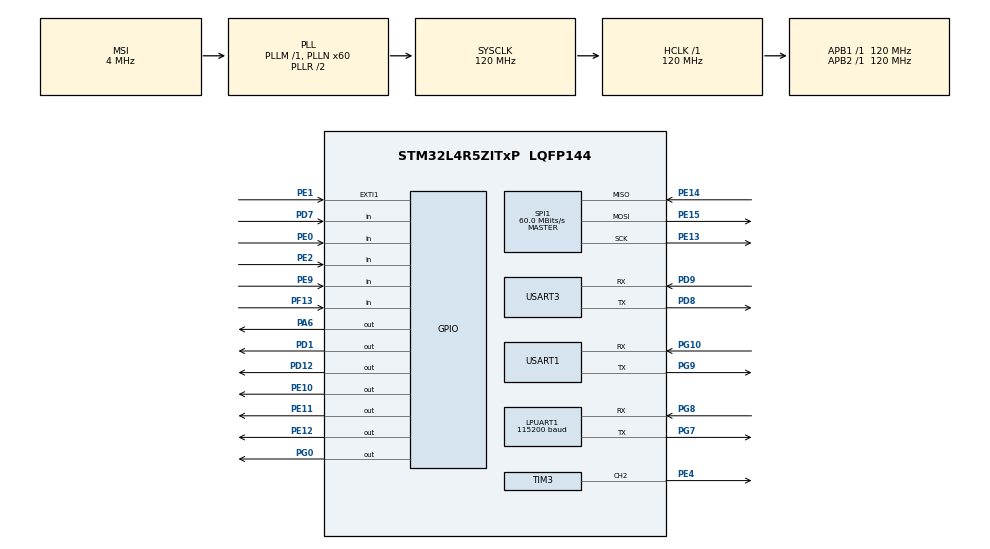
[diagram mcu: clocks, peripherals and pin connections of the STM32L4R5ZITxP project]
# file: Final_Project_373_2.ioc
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Dma.Request0=USART1_RX
Dma.Request1=TIM3_CH2
Dma.TIM3_CH2.1.Direction=DMA_MEMORY_TO_PERIPH
Dma.TIM3_CH2.1.EventEnable=DISABLE
Dma.TIM3_CH2.1.Instance=DMA1_Channel2
Dma.TIM3_CH2.1.MemDataAlignment=DMA_MDATAALIGN_WORD
Dma.TIM3_CH2.1.MemInc=DMA_MINC_ENABLE
Dma.TIM3_CH2.1.Mode=DMA_NORMAL
Dma.TIM3_CH2.1.PeriphDataAlignment=DMA_PDATAALIGN_WORD
Dma.TIM3_CH2.1.PeriphInc=DMA_PINC_DISABLE
Dma.TIM3_CH2.1.Polarity=HAL_DMAMUX_REQUEST_GEN_RISING
Dma.TIM3_CH2.1.Priority=DMA_PRIORITY_VERY_HIGH
Dma.TIM3_CH2.1.RequestNumber=1
Dma.TIM3_CH2.1.SignalID=NONE
Dma.TIM3_CH2.1.SyncEnable=DISABLE
Dma.TIM3_CH2.1.SyncPolarity=HAL_DMAMUX_SYNC_NO_EVENT
Dma.TIM3_CH2.1.SyncRequestNumber=1
Dma.TIM3_CH2.1.SyncSignalID=NONE
Dma.USART1_RX.0.Direction=DMA_PERIPH_TO_MEMORY
Dma.USART1_RX.0.EventEnable=DISABLE
Dma.USART1_RX.0.Instance=DMA1_Channel1
Dma.USART1_RX.0.MemDataAlignment=DMA_MDATAALIGN_BYTE
Dma.USART1_RX.0.MemInc=DMA_MINC_ENABLE
Dma.USART1_RX.0.Mode=DMA_NORMAL
Dma.USART1_RX.0.PeriphDataAlignment=DMA_PDATAALIGN_BYTE
Dma.USART1_RX.0.PeriphInc=DMA_PINC_DISABLE
Dma.USART1_RX.0.Polarity=HAL_DMAMUX_REQUEST_GEN_RISING
Dma.USART1_RX.0.Priority=DMA_PRIORITY_HIGH
Dma.USART1_RX.0.RequestNumber=1
Dma.USART1_RX.0.SignalID=NONE
Dma.USART1_RX.0.SyncEnable=DISABLE
Dma.USART1_RX.0.SyncPolarity=HAL_DMAMUX_SYNC_NO_EVENT
Dma.USART1_RX.0.SyncRequestNumber=1
Dma.USART1_RX.0.SyncSignalID=NONE
FREERTOS.BinarySemaphores01=myBinarySem01,Dynamic,NULL,Depleted;myBinarySem02,Dynamic,NULL,Depleted
FREERTOS.Mutexes01=myMutex01,Dynamic,NULL,Available
FREERTOS.Tasks01=LiDARDataTask,24,128,StartLiDARDataTask,Default,NULL,Dynamic,NULL,NULL;HapticsTask,24,128,StartHapticsTask,Default,NULL,Dynamic,NULL,NULL;LED,23,128,StartLED,Default,NULL,Dynamic,NULL,NULL;RetryConnection,25,128,StartRetryConnection,Default,NULL,Dynamic,NULL,NULL;ChangeModes,8,128,StartChangeModes,Default,NULL,Dynamic,NULL,NULL
FREERTOS.Timers01=myTimer01,Callback01,osTimerOnce,Default,NULL,Dynamic,NULL;myTimer02,Callback02,osTimerOnce,Default,NULL,Dynamic,NULL;myTimer03,Callback03,osTimerPeriodic,Default,NULL,Dynamic,NULL;myTimer05,Callback05,osTimerPeriodic,Default,NULL,Dynamic,NULL
FREERTOS.configTOTAL_HEAP_SIZE=5000
FREERTOS.configUSE_NEWLIB_REENTRANT=1
LPUART1.BaudRate=115200
LPUART1.WordLength=UART_WORDLENGTH_8B
Mcu.Family=STM32L4
Mcu.Name=STM32L4R5ZITxP
Mcu.Package=LQFP144
NVIC.DMA1_Channel1_IRQn=true\:5\:0\:false\:false\:true\:true\:false\:true\:true
NVIC.DMA1_Channel2_IRQn=true\:5\:0\:false\:false\:true\:true\:false\:true\:true
NVIC.EXTI1_IRQn=true\:5\:0\:false\:false\:true\:true\:true\:true\:true
NVIC.PriorityGroup=NVIC_PRIORITYGROUP_4
NVIC.TIM1_UP_TIM16_IRQn=true\:5\:0\:false\:false\:true\:true\:true\:true\:true
NVIC.TIM2_IRQn=true\:5\:0\:false\:false\:true\:true\:true\:true\:true
NVIC.TIM4_IRQn=true\:5\:0\:false\:false\:true\:true\:true\:true\:true
NVIC.TIM5_IRQn=true\:5\:0\:false\:false\:true\:true\:true\:true\:true
NVIC.TIM6_DAC_IRQn=true\:15\:0\:false\:false\:true\:false\:false\:true\:true
NVIC.TIM8_UP_IRQn=true\:5\:0\:false\:false\:true\:true\:true\:true\:true
NVIC.TimeBase=TIM6_DAC_IRQn
NVIC.TimeBaseIP=TIM6
NVIC.USART1_IRQn=true\:5\:0\:true\:false\:true\:true\:true\:true\:true
PA0.Signal=S_TIM2_CH1
PA1.Signal=ADCx_IN6
PA10.Signal=USB_OTG_FS_ID
PA13\ (JTMS/SWDIO).Signal=SYS_JTMS-SWDIO
PA14\ (JTCK/SWCLK).Signal=SYS_JTCK-SWCLK
PA3.Signal=ADCx_IN8
PA6.Signal=GPIO_Output
PA8.Signal=USB_OTG_FS_SOF
PA9.Signal=USB_OTG_FS_VBUS
PB1.Signal=ADCx_IN16
PB10.Signal=S_TIM2_CH3
PB12.Signal=SAI2_FS_A
PB13.Signal=SAI2_SCK_A
PB14.Signal=S_TIM15_CH1
PB15.Signal=SAI2_SD_A
PB2.Signal=COMP1_INP
PB3\ (JTDO/TRACESWO).Signal=SPI3_SCK
PB4\ (NJTRST).Signal=SPI3_MISO
PB5.Signal=SPI3_MOSI
PB6.Signal=COMP2_INP
PB8.Signal=I2C1_SCL
PB9.Signal=I2C1_SDA
PC0.Signal=ADCx_IN1
PC1.Signal=ADCx_IN2
PC10.Signal=SDMMC1_D2
PC11.Signal=SDMMC1_D3
PC12.Signal=SDMMC1_CK
PC13.Signal=SYS_WKUP2
PC14-OSC32_IN\ (PC14).Signal=RCC_OSC32_IN
PC15-OSC32_OUT\ (PC15).Signal=RCC_OSC32_OUT
PC2.Signal=ADCx_IN3
PC3.Signal=ADCx_IN4
PC4.Signal=ADCx_IN13
PC5.Signal=ADCx_IN14
PC6.Signal=SAI2_MCLK_A
PC8.Signal=SDMMC1_D0
PC9.Signal=SDMMC1_D1
PD0.Signal=CAN1_RX
PD1.Signal=GPIO_Output
PD12.Signal=GPIO_Output
PD14.Signal=S_TIM4_CH3
PD15.Signal=S_TIM4_CH4
PD2.Signal=SDMMC1_CMD
PD3.Signal=USART2_CTS
PD4.Signal=USART2_RTS
PD5.Signal=USART2_TX
PD6.Signal=USART2_RX
PD7.GPIO_PuPd=GPIO_PULLUP
PD7.Signal=GPIO_Input
PD8.Mode=Asynchronous
PD8.Signal=USART3_TX
PD9.Mode=Asynchronous
PD9.Signal=USART3_RX
PE0.GPIO_PuPd=GPIO_PULLUP
PE0.Signal=GPIO_Input
PE1.GPIO_ModeDefaultEXTI=GPIO_MODE_IT_RISING_FALLING
PE1.GPIO_PuPd=GPIO_PULLUP
PE1.Signal=GPXTI1
PE10.Signal=GPIO_Output
PE11.Signal=GPIO_Output
PE12.Signal=GPIO_Output
PE13.Mode=Full_Duplex_Master
PE13.Signal=SPI1_SCK
PE14.Mode=Full_Duplex_Master
PE14.Signal=SPI1_MISO
PE15.Mode=Full_Duplex_Master
PE15.Signal=SPI1_MOSI
PE2.GPIO_PuPd=GPIO_PULLUP
PE2.Signal=GPIO_Input
PE3.Signal=SAI1_SD_B
PE4.Signal=S_TIM3_CH2
PE7.Signal=S_TIM1_ETR
PE8.Signal=TIM1_CH1N
PE9.GPIO_PuPd=GPIO_PULLUP
PE9.Signal=GPIO_Input
PF0.Signal=I2C2_SDA
PF1.Signal=I2C2_SCL
PF13.GPIO_PuPd=GPIO_PULLUP
PF13.Signal=GPIO_Input
PF2.Signal=I2C2_SMBA
PF7.Signal=SAI1_MCLK_B
PG0.Signal=GPIO_Output
PG10.Mode=Asynchronous
PG10.Signal=USART1_RX
PG7.Mode=Asynchronous
PG7.Signal=LPUART1_TX
PG8.Mode=Asynchronous
PG8.Signal=LPUART1_RX
PG9.Mode=Asynchronous
PG9.Signal=USART1_TX
PH0-OSC_IN\ (PH0).Signal=RCC_OSC_IN
PH1-OSC_OUT\ (PH1).Signal=RCC_OSC_OUT
ProjectManager.HeapSize=0x200
ProjectManager.StackSize=0x400
ProjectManager.TargetToolchain=STM32CubeIDE
RCC.AHBFreq_Value=120000000
RCC.APB1Freq_Value=120000000
RCC.APB1TimFreq_Value=120000000
RCC.APB2Freq_Value=120000000
RCC.APB2TimFreq_Value=120000000
RCC.CortexFreq_Value=120000000
RCC.HCLKFreq_Value=120000000
RCC.HSE_VALUE=8000000
RCC.HSI48_VALUE=48000000
RCC.HSI_VALUE=16000000
RCC.LSE_VALUE=32768
RCC.MSI_VALUE=4000000
RCC.PLLN=60
RCC.SYSCLKFreq_VALUE=120000000
RCC.SYSCLKSource=RCC_SYSCLKSOURCE_PLLCLK
RCC.VCOOutputFreq_Value=240000000
SH.ADCx_IN1.0=ADC1_IN1
SH.ADCx_IN13.0=ADC1_IN13
SH.ADCx_IN14.0=ADC1_IN14
SH.ADCx_IN16.0=ADC1_IN16
SH.ADCx_IN2.0=ADC1_IN2
SH.ADCx_IN3.0=ADC1_IN3
SH.ADCx_IN4.0=ADC1_IN4
SH.ADCx_IN6.0=ADC1_IN6
SH.ADCx_IN8.0=ADC1_IN8
SH.S_TIM15_CH1.0=TIM15_CH1
SH.S_TIM1_ETR.0=TIM1_ETR
SH.S_TIM2_CH1.0=TIM2_CH1
SH.S_TIM2_CH3.0=TIM2_CH3
SH.S_TIM3_CH2.0=TIM3_CH2,PWM Generation2 CH2
SH.S_TIM4_CH3.0=TIM4_CH3
SH.S_TIM4_CH4.0=TIM4_CH4
SPI1.BaudRatePrescaler=SPI_BAUDRATEPRESCALER_2
SPI1.CalculateBaudRate=60.0 MBits/s
SPI1.DataSize=SPI_DATASIZE_8BIT
SPI1.Direction=SPI_DIRECTION_2LINES
SPI1.Mode=SPI_MODE_MASTER
SPI1.VirtualType=VM_MASTER
TIM1.Prescaler=183
TIM2.Period=65535
TIM2.Prescaler=2000
TIM3.Channel-PWM\ Generation2\ CH2=TIM_CHANNEL_2
TIM3.Period=99
TIM3.Prescaler=0
TIM4.Prescaler=2000
TIM5.Period=65000
TIM5.Prescaler=3000
TIM8.Prescaler=800
USART1.VirtualMode-Asynchronous=VM_ASYNC
USART3.VirtualMode-Asynchronous=VM_ASYNC
VP_FREERTOS_VS_CMSIS_V2.Mode=CMSIS_V2
VP_SYS_VS_tim6.Mode=TIM6
VP_TIM1_VS_ClockSourceINT.Mode=Internal
VP_TIM2_VS_ClockSourceINT.Mode=Internal
VP_TIM3_VS_ClockSourceINT.Mode=Internal
VP_TIM4_VS_ClockSourceINT.Mode=Internal
VP_TIM5_VS_ClockSourceINT.Mode=Internal
VP_TIM8_VS_ClockSourceINT.Mode=Internal
board=NUCLEO-L4R5ZI-P

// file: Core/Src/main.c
/* USER CODE BEGIN Header */
/**
  ******************************************************************************
  * @file           : main.c
  * @brief          : STM32 + ILI9341 LCD with fast 5-0 countdown
  ******************************************************************************
  */
/* USER CODE END Header */
#include "main.h"
#include "cmsis_os.h"

/* USER CODE BEGIN Includes */
#include "led.h"
#include "lidar.h"
#include "stdio.h"
#include "lcd.h"
/* USER CODE END Includes */

/* USER CODE BEGIN PM */
#define MIN(a,b) ((a) < (b) ? (a) : (b))
#define LIDAR_BUFFER_SIZE 2000
/* USER CODE END PM */

UART_HandleTypeDef hlpuart1;
UART_HandleTypeDef huart1;
UART_HandleTypeDef huart3;
DMA_HandleTypeDef hdma_usart1_rx;

SPI_HandleTypeDef hspi1;

TIM_HandleTypeDef htim1;
TIM_HandleTypeDef htim2;
TIM_HandleTypeDef htim3;
TIM_HandleTypeDef htim4;
TIM_HandleTypeDef htim5;
TIM_HandleTypeDef htim8;
DMA_HandleTypeDef hdma_tim3_ch2;

/* Definitions for LiDARDataTask */
osThreadId_t LiDARDataTaskHandle;
const osThreadAttr_t LiDARDataTask_attributes = {
  .name = "LiDARDataTask",
  .stack_size = 128 * 4,
  .priority = (osPriority_t) osPriorityNormal,
};
/* Definitions for HapticsTask */
osThreadId_t HapticsTaskHandle;
const osThreadAttr_t HapticsTask_attributes = {
  .name = "HapticsTask",
  .stack_size = 128 * 4,
  .priority = (osPriority_t) osPriorityNormal,
};
/* Definitions for LED */
osThreadId_t LEDHandle;
const osThreadAttr_t LED_attributes = {
  .name = "LED",
  .stack_size = 128 * 4,
  .priority = (osPriority_t) osPriorityBelowNormal7,
};
/* Definitions for RetryConnection */
osThreadId_t RetryConnectionHandle;
const osThreadAttr_t RetryConnection_attributes = {
  .name = "RetryConnection",
  .stack_size = 128 * 4,
  .priority = (osPriority_t) osPriorityNormal1,
};
/* Definitions for ChangeModes */
osThreadId_t ChangeModesHandle;
const osThreadAttr_t ChangeModes_attributes = {
  .name = "ChangeModes",
  .stack_size = 128 * 4,
  .priority = (osPriority_t) osPriorityLow,
};
/* Definitions for myTimer01 */
osTimerId_t myTimer01Handle;
const osTimerAttr_t myTimer01_attributes = {
  .name = "myTimer01"
};
/* Definitions for myTimer02 */
osTimerId_t myTimer02Handle;
const osTimerAttr_t myTimer02_attributes = {
  .name = "myTimer02"
};
/* Definitions for myTimer03 */
osTimerId_t myTimer03Handle;
const osTimerAttr_t myTimer03_attributes = {
  .name = "myTimer03"
};
/* Definitions for myTimer05 */
osTimerId_t myTimer05Handle;
const osTimerAttr_t myTimer05_attributes = {
  .name = "myTimer05"
};
/* Definitions for myMutex01 */
osMutexId_t myMutex01Handle;
const osMutexAttr_t myMutex01_attributes = {
  .name = "myMutex01"
};
/* Definitions for myBinarySem01 */
osSemaphoreId_t myBinarySem01Handle;
const osSemaphoreAttr_t myBinarySem01_attributes = {
  .name = "myBinarySem01"
};
/* Definitions for myBinarySem02 */
osSemaphoreId_t myBinarySem02Handle;
const osSemaphoreAttr_t myBinarySem02_attributes = {
  .name = "myBinarySem02"
};
/* USER CODE BEGIN PV */
uint8_t response [7] = {0};
uint8_t rx_buffer[4 * LIDAR_BUFFER_SIZE] = {0};
volatile uint8_t count = 0;
volatile uint8_t data_ready_k = 0xFF;

volatile bool startup = true;
bool zone_mode = false;
bool filter_mode = false;
bool led_state = true;
bool right_haptic_triggered = false;
bool left_haptic_triggered = false;

extern bool zone_detected[GRID_DIM*GRID_DIM];
extern uint16_t zone_history[GRID_DIM*GRID_DIM];

/* USER CODE END PV */

void SystemClock_Config(void);
static void MX_GPIO_Init(void);
static void MX_DMA_Init(void);
static void MX_SPI1_Init(void);
static void MX_USART1_UART_Init(void);
static void MX_USART3_UART_Init(void);
static void MX_LPUART1_UART_Init(void);
static void MX_TIM1_Init(void);
static void MX_TIM2_Init(void);
static void MX_TIM3_Init(void);
static void MX_TIM4_Init(void);
static void MX_TIM5_Init(void);
static void MX_TIM8_Init(void);
void StartLiDARDataTask(void *argument);
void StartHapticsTask(void *argument);
void StartLED(void *argument);
void StartRetryConnection(void *argument);
void StartChangeModes(void *argument);
void Callback01(void *argument);
void Callback02(void *argument);
void Callback03(void *argument);
void Callback05(void *argument);

/* USER CODE BEGIN 0 */

int decoded = 0;
int displayed = 0;

void HAL_UART_RxCpltCallback(UART_HandleTypeDef *huart) {
    static uint8_t k = 0;
    static uint8_t next_k = 1;

    if (huart->Instance == USART1) {
      if (startup) {
        // First callback is for the 7-byte response, now start 84-byte receptions
        startup = false;
        HAL_UART_Receive_DMA(&huart1, rx_buffer + next_k * LIDAR_BUFFER_SIZE, LIDAR_BUFFER_SIZE);
      } else {
        data_ready_k = k;
        HAL_UART_Receive_DMA(&huart1, rx_buffer + next_k * LIDAR_BUFFER_SIZE, LIDAR_BUFFER_SIZE);
        osSemaphoreRelease(myBinarySem01Handle);
      }
      // Rotate buffer indices for next iteration
      k = next_k;
      next_k = (next_k + 1) % 4;
      count = 0;
    }
}

/* USER CODE END 0 */

int main(void)
{

  /* MCU Configuration--------------------------------------------------------*/

  /* Reset of all peripherals, Initializes the Flash interface and the Systick. */
  HAL_Init();

  /* Configure the system clock */
  SystemClock_Config();

  /* Initialize all configured peripherals */
  MX_GPIO_Init();
  MX_DMA_Init();
  MX_SPI1_Init();
  MX_USART1_UART_Init();
  MX_USART3_UART_Init();
  MX_LPUART1_UART_Init();
  MX_TIM1_Init();
  MX_TIM2_Init();
  MX_TIM3_Init();
  MX_TIM4_Init();
  MX_TIM5_Init();
  MX_TIM8_Init();
  /* USER CODE BEGIN 2 */
  HAL_Delay(1000); // Sleep out
  ILI9341_Reset();
  HAL_Delay(1000); // Sleep out
  ClearLED();

  WriteCommand(0x11, &hspi1);
  HAL_Delay(120); // Sleep out

  WriteCommand(0x3A, &hspi1);

  uint8_t pixel_format = 0x55;
  WriteData(&pixel_format, 1, &hspi1);

  WriteCommand(0x29, &hspi1); // Display on
  HAL_Delay(20);

  ILI9341_DisplayFrame(&hspi1);
  HAL_Delay(500);

  send_stop_command(&huart1);
  //__HAL_UART_CLEAR_OREFLAG(&huart1);

  // Small delay for LIDAR to be ready
  HAL_Delay(500);

  while (__HAL_UART_GET_FLAG(&huart1, UART_FLAG_RXNE)) {
      volatile uint8_t dummy = huart1.Instance->RDR;
  }

  __HAL_UART_CLEAR_IT(&huart1,  UART_CLEAR_OREF);

  // Start DMA reception ready for incoming data
  HAL_UART_Receive_DMA(&huart1, rx_buffer, 7);

  HAL_Delay(1000);
  // Send the express scan command
  send_scan_command(&huart1);

  /* USER CODE END 2 */

  /* Init scheduler */
  osKernelInitialize();
  /* Create the mutex(es) */
  /* creation of myMutex01 */
  myMutex01Handle = osMutexNew(&myMutex01_attributes);

  /* Create the semaphores(s) */
  /* creation of myBinarySem01 */
  myBinarySem01Handle = osSemaphoreNew(1, 0, &myBinarySem01_attributes);

  /* creation of myBinarySem02 */
  myBinarySem02Handle = osSemaphoreNew(1, 0, &myBinarySem02_attributes);

  /* Create the timer(s) */
  /* creation of myTimer01 */
  myTimer01Handle = osTimerNew(Callback01, osTimerOnce, NULL, &myTimer01_attributes);

  /* creation of myTimer02 */
  myTimer02Handle = osTimerNew(Callback02, osTimerOnce, NULL, &myTimer02_attributes);

  /* creation of myTimer03 */
  myTimer03Handle = osTimerNew(Callback03, osTimerPeriodic, NULL, &myTimer03_attributes);

  /* creation of myTimer05 */
  myTimer05Handle = osTimerNew(Callback05, osTimerPeriodic, NULL, &myTimer05_attributes);

  /* USER CODE BEGIN RTOS_TIMERS */
  osTimerStart(myTimer03Handle, 500);
  osTimerStart(myTimer05Handle, 10);
  /* start timers, add new ones, ... */
  /* USER CODE END RTOS_TIMERS */

  /* Create the thread(s) */
  /* creation of LiDARDataTask */
  LiDARDataTaskHandle = osThreadNew(StartLiDARDataTask, NULL, &LiDARDataTask_attributes);

  /* creation of HapticsTask */
  HapticsTaskHandle = osThreadNew(StartHapticsTask, NULL, &HapticsTask_attributes);

  /* creation of LED */
  LEDHandle = osThreadNew(StartLED, NULL, &LED_attributes);

  /* creation of RetryConnection */
  RetryConnectionHandle = osThreadNew(StartRetryConnection, NULL, &RetryConnection_attributes);

  /* creation of ChangeModes */
  ChangeModesHandle = osThreadNew(StartChangeModes, NULL, &ChangeModes_attributes);

  /* Start scheduler */
  osKernelStart();

  /* We should never get here as control is now taken by the scheduler */

  /* Infinite loop */
    while (1) {

    }
}

void SystemClock_Config(void)
{
  RCC_OscInitTypeDef RCC_OscInitStruct = {0};
  RCC_ClkInitTypeDef RCC_ClkInitStruct = {0};

  /** Configure the main internal regulator output voltage
  */
  if (HAL_PWREx_ControlVoltageScaling(PWR_REGULATOR_VOLTAGE_SCALE1_BOOST) != HAL_OK)
  {
    Error_Handler();
  }

  /** Initializes the RCC Oscillators according to the specified parameters
  * in the RCC_OscInitTypeDef structure.
  */
  RCC_OscInitStruct.OscillatorType = RCC_OSCILLATORTYPE_MSI;
  RCC_OscInitStruct.MSIState = RCC_MSI_ON;
  RCC_OscInitStruct.MSICalibrationValue = 0;
  RCC_OscInitStruct.MSIClockRange = RCC_MSIRANGE_6;
  RCC_OscInitStruct.PLL.PLLState = RCC_PLL_ON;
  RCC_OscInitStruct.PLL.PLLSource = RCC_PLLSOURCE_MSI;
  RCC_OscInitStruct.PLL.PLLM = 1;
  RCC_OscInitStruct.PLL.PLLN = 60;
  RCC_OscInitStruct.PLL.PLLP = RCC_PLLP_DIV2;
  RCC_OscInitStruct.PLL.PLLQ = RCC_PLLQ_DIV2;
  RCC_OscInitStruct.PLL.PLLR = RCC_PLLR_DIV2;
  if (HAL_RCC_OscConfig(&RCC_OscInitStruct) != HAL_OK)
  {
    Error_Handler();
  }

  /** Initializes the CPU, AHB and APB buses clocks
  */
  RCC_ClkInitStruct.ClockType = RCC_CLOCKTYPE_HCLK|RCC_CLOCKTYPE_SYSCLK
                              |RCC_CLOCKTYPE_PCLK1|RCC_CLOCKTYPE_PCLK2;
  RCC_ClkInitStruct.SYSCLKSource = RCC_SYSCLKSOURCE_PLLCLK;
  RCC_ClkInitStruct.AHBCLKDivider = RCC_SYSCLK_DIV1;
  RCC_ClkInitStruct.APB1CLKDivider = RCC_HCLK_DIV1;
  RCC_ClkInitStruct.APB2CLKDivider = RCC_HCLK_DIV1;

  if (HAL_RCC_ClockConfig(&RCC_ClkInitStruct, FLASH_LATENCY_5) != HAL_OK)
  {
    Error_Handler();
  }
}

static void MX_LPUART1_UART_Init(void)
{

  hlpuart1.Instance = LPUART1;
  hlpuart1.Init.BaudRate = 115200;
  hlpuart1.Init.WordLength = UART_WORDLENGTH_8B;
  hlpuart1.Init.StopBits = UART_STOPBITS_1;
  hlpuart1.Init.Parity = UART_PARITY_NONE;
  hlpuart1.Init.Mode = UART_MODE_TX_RX;
  hlpuart1.Init.HwFlowCtl = UART_HWCONTROL_NONE;
  hlpuart1.Init.OneBitSampling = UART_ONE_BIT_SAMPLE_DISABLE;
  hlpuart1.Init.ClockPrescaler = UART_PRESCALER_DIV1;
  hlpuart1.AdvancedInit.AdvFeatureInit = UART_ADVFEATURE_NO_INIT;
  hlpuart1.FifoMode = UART_FIFOMODE_DISABLE;
  if (HAL_UART_Init(&hlpuart1) != HAL_OK)
  {
    Error_Handler();
  }
  if (HAL_UARTEx_SetTxFifoThreshold(&hlpuart1, UART_TXFIFO_THRESHOLD_1_8) != HAL_OK)
  {
    Error_Handler();
  }
  if (HAL_UARTEx_SetRxFifoThreshold(&hlpuart1, UART_RXFIFO_THRESHOLD_1_8) != HAL_OK)
  {
    Error_Handler();
  }
  if (HAL_UARTEx_DisableFifoMode(&hlpuart1) != HAL_OK)
  {
    Error_Handler();
  }

}

static void MX_USART1_UART_Init(void)
{

  huart1.Instance = USART1;
  huart1.Init.BaudRate = 115200;
  huart1.Init.WordLength = UART_WORDLENGTH_8B;
  huart1.Init.StopBits = UART_STOPBITS_1;
  huart1.Init.Parity = UART_PARITY_NONE;
  huart1.Init.Mode = UART_MODE_TX_RX;
  huart1.Init.HwFlowCtl = UART_HWCONTROL_NONE;
  huart1.Init.OverSampling = UART_OVERSAMPLING_16;
  huart1.Init.OneBitSampling = UART_ONE_BIT_SAMPLE_DISABLE;
  huart1.Init.ClockPrescaler = UART_PRESCALER_DIV1;
  huart1.AdvancedInit.AdvFeatureInit = UART_ADVFEATURE_NO_INIT;
  if (HAL_UART_Init(&huart1) != HAL_OK)
  {
    Error_Handler();
  }
  if (HAL_UARTEx_SetTxFifoThreshold(&huart1, UART_TXFIFO_THRESHOLD_1_8) != HAL_OK)
  {
    Error_Handler();
  }
  if (HAL_UARTEx_SetRxFifoThreshold(&huart1, UART_RXFIFO_THRESHOLD_1_8) != HAL_OK)
  {
    Error_Handler();
  }
  if (HAL_UARTEx_DisableFifoMode(&huart1) != HAL_OK)
  {
    Error_Handler();
  }

}

static void MX_USART3_UART_Init(void)
{

  huart3.Instance = USART3;
  huart3.Init.BaudRate = 115200;
  huart3.Init.WordLength = UART_WORDLENGTH_8B;
  huart3.Init.StopBits = UART_STOPBITS_1;
  huart3.Init.Parity = UART_PARITY_NONE;
  huart3.Init.Mode = UART_MODE_TX_RX;
  huart3.Init.HwFlowCtl = UART_HWCONTROL_NONE;
  huart3.Init.OverSampling = UART_OVERSAMPLING_16;
  huart3.Init.OneBitSampling = UART_ONE_BIT_SAMPLE_DISABLE;
  huart3.Init.ClockPrescaler = UART_PRESCALER_DIV1;
  huart3.AdvancedInit.AdvFeatureInit = UART_ADVFEATURE_NO_INIT;
  if (HAL_UART_Init(&huart3) != HAL_OK)
  {
    Error_Handler();
  }
  if (HAL_UARTEx_SetTxFifoThreshold(&huart3, UART_TXFIFO_THRESHOLD_1_8) != HAL_OK)
  {
    Error_Handler();
  }
  if (HAL_UARTEx_SetRxFifoThreshold(&huart3, UART_RXFIFO_THRESHOLD_1_8) != HAL_OK)
  {
    Error_Handler();
  }
  if (HAL_UARTEx_DisableFifoMode(&huart3) != HAL_OK)
  {
    Error_Handler();
  }

}

static void MX_SPI1_Init(void)
{

  /* SPI1 parameter configuration*/
  hspi1.Instance = SPI1;
  hspi1.Init.Mode = SPI_MODE_MASTER;
  hspi1.Init.Direction = SPI_DIRECTION_2LINES;
  hspi1.Init.DataSize = SPI_DATASIZE_8BIT;
  hspi1.Init.CLKPolarity = SPI_POLARITY_LOW;
  hspi1.Init.CLKPhase = SPI_PHASE_1EDGE;
  hspi1.Init.NSS = SPI_NSS_SOFT;
  hspi1.Init.BaudRatePrescaler = SPI_BAUDRATEPRESCALER_2;
  hspi1.Init.FirstBit = SPI_FIRSTBIT_MSB;
  hspi1.Init.TIMode = SPI_TIMODE_DISABLE;
  hspi1.Init.CRCCalculation = SPI_CRCCALCULATION_DISABLE;
  hspi1.Init.CRCPolynomial = 7;
  hspi1.Init.CRCLength = SPI_CRC_LENGTH_DATASIZE;
  hspi1.Init.NSSPMode = SPI_NSS_PULSE_ENABLE;
  if (HAL_SPI_Init(&hspi1) != HAL_OK)
  {
    Error_Handler();
  }

}

static void MX_TIM1_Init(void)
{

  TIM_ClockConfigTypeDef sClockSourceConfig = {0};
  TIM_MasterConfigTypeDef sMasterConfig = {0};

  htim1.Instance = TIM1;
  htim1.Init.Prescaler = 183;
  htim1.Init.CounterMode = TIM_COUNTERMODE_UP;
  htim1.Init.Period = 65535;
  htim1.Init.ClockDivision = TIM_CLOCKDIVISION_DIV1;
  htim1.Init.RepetitionCounter = 0;
  htim1.Init.AutoReloadPreload = TIM_AUTORELOAD_PRELOAD_DISABLE;
  if (HAL_TIM_Base_Init(&htim1) != HAL_OK)
  {
    Error_Handler();
  }
  sClockSourceConfig.ClockSource = TIM_CLOCKSOURCE_INTERNAL;
  if (HAL_TIM_ConfigClockSource(&htim1, &sClockSourceConfig) != HAL_OK)
  {
    Error_Handler();
  }
  sMasterConfig.MasterOutputTrigger = TIM_TRGO_RESET;
  sMasterConfig.MasterOutputTrigger2 = TIM_TRGO2_RESET;
  sMasterConfig.MasterSlaveMode = TIM_MASTERSLAVEMODE_DISABLE;
  if (HAL_TIMEx_MasterConfigSynchronization(&htim1, &sMasterConfig) != HAL_OK)
  {
    Error_Handler();
  }

}

static void MX_TIM2_Init(void)
{

  TIM_ClockConfigTypeDef sClockSourceConfig = {0};
  TIM_MasterConfigTypeDef sMasterConfig = {0};

  htim2.Instance = TIM2;
  htim2.Init.Prescaler = 2000;
  htim2.Init.CounterMode = TIM_COUNTERMODE_UP;
  htim2.Init.Period = 65535;
  htim2.Init.ClockDivision = TIM_CLOCKDIVISION_DIV1;
  htim2.Init.AutoReloadPreload = TIM_AUTORELOAD_PRELOAD_DISABLE;
  if (HAL_TIM_Base_Init(&htim2) != HAL_OK)
  {
    Error_Handler();
  }
  sClockSourceConfig.ClockSource = TIM_CLOCKSOURCE_INTERNAL;
  if (HAL_TIM_ConfigClockSource(&htim2, &sClockSourceConfig) != HAL_OK)
  {
    Error_Handler();
  }
  sMasterConfig.MasterOutputTrigger = TIM_TRGO_RESET;
  sMasterConfig.MasterSlaveMode = TIM_MASTERSLAVEMODE_DISABLE;
  if (HAL_TIMEx_MasterConfigSynchronization(&htim2, &sMasterConfig) != HAL_OK)
  {
    Error_Handler();
  }

}

static void MX_TIM3_Init(void)
{

  TIM_ClockConfigTypeDef sClockSourceConfig = {0};
  TIM_MasterConfigTypeDef sMasterConfig = {0};
  TIM_OC_InitTypeDef sConfigOC = {0};

  htim3.Instance = TIM3;
  htim3.Init.Prescaler = 0;
  htim3.Init.CounterMode = TIM_COUNTERMODE_UP;
  htim3.Init.Period = 99;
  htim3.Init.ClockDivision = TIM_CLOCKDIVISION_DIV1;
  htim3.Init.AutoReloadPreload = TIM_AUTORELOAD_PRELOAD_DISABLE;
  if (HAL_TIM_Base_Init(&htim3) != HAL_OK)
  {
    Error_Handler();
  }
  sClockSourceConfig.ClockSource = TIM_CLOCKSOURCE_INTERNAL;
  if (HAL_TIM_ConfigClockSource(&htim3, &sClockSourceConfig) != HAL_OK)
  {
    Error_Handler();
  }
  if (HAL_TIM_PWM_Init(&htim3) != HAL_OK)
  {
    Error_Handler();
  }
  sMasterConfig.MasterOutputTrigger = TIM_TRGO_RESET;
  sMasterConfig.MasterSlaveMode = TIM_MASTERSLAVEMODE_DISABLE;
  if (HAL_TIMEx_MasterConfigSynchronization(&htim3, &sMasterConfig) != HAL_OK)
  {
    Error_Handler();
  }
  sConfigOC.OCMode = TIM_OCMODE_PWM1;
  sConfigOC.Pulse = 0;
  sConfigOC.OCPolarity = TIM_OCPOLARITY_HIGH;
  sConfigOC.OCFastMode = TIM_OCFAST_DISABLE;
  if (HAL_TIM_PWM_ConfigChannel(&htim3, &sConfigOC, TIM_CHANNEL_2) != HAL_OK)
  {
    Error_Handler();
  }
  HAL_TIM_MspPostInit(&htim3);

}

static void MX_TIM4_Init(void)
{

  TIM_ClockConfigTypeDef sClockSourceConfig = {0};
  TIM_MasterConfigTypeDef sMasterConfig = {0};

  htim4.Instance = TIM4;
  htim4.Init.Prescaler = 2000;
  htim4.Init.CounterMode = TIM_COUNTERMODE_UP;
  htim4.Init.Period = 65535;
  htim4.Init.ClockDivision = TIM_CLOCKDIVISION_DIV1;
  htim4.Init.AutoReloadPreload = TIM_AUTORELOAD_PRELOAD_DISABLE;
  if (HAL_TIM_Base_Init(&htim4) != HAL_OK)
  {
    Error_Handler();
  }
  sClockSourceConfig.ClockSource = TIM_CLOCKSOURCE_INTERNAL;
  if (HAL_TIM_ConfigClockSource(&htim4, &sClockSourceConfig) != HAL_OK)
  {
    Error_Handler();
  }
  sMasterConfig.MasterOutputTrigger = TIM_TRGO_RESET;
  sMasterConfig.MasterSlaveMode = TIM_MASTERSLAVEMODE_DISABLE;
  if (HAL_TIMEx_MasterConfigSynchronization(&htim4, &sMasterConfig) != HAL_OK)
  {
    Error_Handler();
  }

}

static void MX_TIM5_Init(void)
{

  TIM_ClockConfigTypeDef sClockSourceConfig = {0};
  TIM_MasterConfigTypeDef sMasterConfig = {0};

  htim5.Instance = TIM5;
  htim5.Init.Prescaler = 3000;
  htim5.Init.CounterMode = TIM_COUNTERMODE_UP;
  htim5.Init.Period = 65000;
  htim5.Init.ClockDivision = TIM_CLOCKDIVISION_DIV1;
  htim5.Init.AutoReloadPreload = TIM_AUTORELOAD_PRELOAD_DISABLE;
  if (HAL_TIM_Base_Init(&htim5) != HAL_OK)
  {
    Error_Handler();
  }
  sClockSourceConfig.ClockSource = TIM_CLOCKSOURCE_INTERNAL;
  if (HAL_TIM_ConfigClockSource(&htim5, &sClockSourceConfig) != HAL_OK)
  {
    Error_Handler();
  }
  sMasterConfig.MasterOutputTrigger = TIM_TRGO_RESET;
  sMasterConfig.MasterSlaveMode = TIM_MASTERSLAVEMODE_DISABLE;
  if (HAL_TIMEx_MasterConfigSynchronization(&htim5, &sMasterConfig) != HAL_OK)
  {
    Error_Handler();
  }

}

static void MX_TIM8_Init(void)
{

  TIM_ClockConfigTypeDef sClockSourceConfig = {0};
  TIM_MasterConfigTypeDef sMasterConfig = {0};

  htim8.Instance = TIM8;
  htim8.Init.Prescaler = 800;
  htim8.Init.CounterMode = TIM_COUNTERMODE_UP;
  htim8.Init.Period = 65535;
  htim8.Init.ClockDivision = TIM_CLOCKDIVISION_DIV1;
  htim8.Init.RepetitionCounter = 0;
  htim8.Init.AutoReloadPreload = TIM_AUTORELOAD_PRELOAD_DISABLE;
  if (HAL_TIM_Base_Init(&htim8) != HAL_OK)
  {
    Error_Handler();
  }
  sClockSourceConfig.ClockSource = TIM_CLOCKSOURCE_INTERNAL;
  if (HAL_TIM_ConfigClockSource(&htim8, &sClockSourceConfig) != HAL_OK)
  {
    Error_Handler();
  }
  sMasterConfig.MasterOutputTrigger = TIM_TRGO_RESET;
  sMasterConfig.MasterOutputTrigger2 = TIM_TRGO2_RESET;
  sMasterConfig.MasterSlaveMode = TIM_MASTERSLAVEMODE_DISABLE;
  if (HAL_TIMEx_MasterConfigSynchronization(&htim8, &sMasterConfig) != HAL_OK)
  {
    Error_Handler();
  }

}

static void MX_DMA_Init(void)
{

  /* DMA controller clock enable */
  __HAL_RCC_DMAMUX1_CLK_ENABLE();
  __HAL_RCC_DMA1_CLK_ENABLE();

  /* DMA interrupt init */
  /* DMA1_Channel1_IRQn interrupt configuration */
  HAL_NVIC_SetPriority(DMA1_Channel1_IRQn, 5, 0);
  HAL_NVIC_EnableIRQ(DMA1_Channel1_IRQn);
  /* DMA1_Channel2_IRQn interrupt configuration */
  HAL_NVIC_SetPriority(DMA1_Channel2_IRQn, 5, 0);
  HAL_NVIC_EnableIRQ(DMA1_Channel2_IRQn);

}

static void MX_GPIO_Init(void)
{
  GPIO_InitTypeDef GPIO_InitStruct = {0};

  /* GPIO Ports Clock Enable */
  __HAL_RCC_GPIOE_CLK_ENABLE();
  __HAL_RCC_GPIOC_CLK_ENABLE();
  __HAL_RCC_GPIOF_CLK_ENABLE();
  __HAL_RCC_GPIOH_CLK_ENABLE();
  __HAL_RCC_GPIOA_CLK_ENABLE();
  __HAL_RCC_GPIOB_CLK_ENABLE();
  __HAL_RCC_GPIOG_CLK_ENABLE();
  __HAL_RCC_GPIOD_CLK_ENABLE();
  HAL_PWREx_EnableVddIO2();

  /*Configure GPIO pin Output Level */
  HAL_GPIO_WritePin(GPIOA, GPIO_PIN_6, GPIO_PIN_RESET);

  /*Configure GPIO pin Output Level */
  HAL_GPIO_WritePin(GPIOG, GPIO_PIN_0, GPIO_PIN_RESET);

  /*Configure GPIO pin Output Level */
  HAL_GPIO_WritePin(GPIOE, GPIO_PIN_10|GPIO_PIN_11|GPIO_PIN_12, GPIO_PIN_RESET);

  /*Configure GPIO pin Output Level */
  HAL_GPIO_WritePin(GPIOD, GPIO_PIN_12|GPIO_PIN_1, GPIO_PIN_RESET);

  /*Configure GPIO pins : PE2 PE9 PE0 */
  GPIO_InitStruct.Pin = GPIO_PIN_2|GPIO_PIN_9|GPIO_PIN_0;
  GPIO_InitStruct.Mode = GPIO_MODE_INPUT;
  GPIO_InitStruct.Pull = GPIO_PULLUP;
  HAL_GPIO_Init(GPIOE, &GPIO_InitStruct);

  /*Configure GPIO pin : PE3 */
  GPIO_InitStruct.Pin = GPIO_PIN_3;
  GPIO_InitStruct.Mode = GPIO_MODE_AF_PP;
  GPIO_InitStruct.Pull = GPIO_NOPULL;
  GPIO_InitStruct.Speed = GPIO_SPEED_FREQ_LOW;
  GPIO_InitStruct.Alternate = GPIO_AF13_SAI1;
  HAL_GPIO_Init(GPIOE, &GPIO_InitStruct);

  /*Configure GPIO pins : PF0 PF1 PF2 */
  GPIO_InitStruct.Pin = GPIO_PIN_0|GPIO_PIN_1|GPIO_PIN_2;
  GPIO_InitStruct.Mode = GPIO_MODE_AF_OD;
  GPIO_InitStruct.Pull = GPIO_NOPULL;
  GPIO_InitStruct.Speed = GPIO_SPEED_FREQ_VERY_HIGH;
  GPIO_InitStruct.Alternate = GPIO_AF4_I2C2;
  HAL_GPIO_Init(GPIOF, &GPIO_InitStruct);

  /*Configure GPIO pin : PF7 */
  GPIO_InitStruct.Pin = GPIO_PIN_7;
  GPIO_InitStruct.Mode = GPIO_MODE_AF_PP;
  GPIO_InitStruct.Pull = GPIO_NOPULL;
  GPIO_InitStruct.Speed = GPIO_SPEED_FREQ_LOW;
  GPIO_InitStruct.Alternate = GPIO_AF13_SAI1;
  HAL_GPIO_Init(GPIOF, &GPIO_InitStruct);

  /*Configure GPIO pins : PC0 PC1 PC2 PC3
                           PC4 PC5 */
  GPIO_InitStruct.Pin = GPIO_PIN_0|GPIO_PIN_1|GPIO_PIN_2|GPIO_PIN_3
                          |GPIO_PIN_4|GPIO_PIN_5;
  GPIO_InitStruct.Mode = GPIO_MODE_ANALOG_ADC_CONTROL;
  GPIO_InitStruct.Pull = GPIO_NOPULL;
  HAL_GPIO_Init(GPIOC, &GPIO_InitStruct);

  /*Configure GPIO pins : PA1 PA3 */
  GPIO_InitStruct.Pin = GPIO_PIN_1|GPIO_PIN_3;
  GPIO_InitStruct.Mode = GPIO_MODE_ANALOG_ADC_CONTROL;
  GPIO_InitStruct.Pull = GPIO_NOPULL;
  HAL_GPIO_Init(GPIOA, &GPIO_InitStruct);

  /*Configure GPIO pin : PA6 */
  GPIO_InitStruct.Pin = GPIO_PIN_6;
  GPIO_InitStruct.Mode = GPIO_MODE_OUTPUT_PP;
  GPIO_InitStruct.Pull = GPIO_NOPULL;
  GPIO_InitStruct.Speed = GPIO_SPEED_FREQ_LOW;
  HAL_GPIO_Init(GPIOA, &GPIO_InitStruct);

  /*Configure GPIO pin : PB1 */
  GPIO_InitStruct.Pin = GPIO_PIN_1;
  GPIO_InitStruct.Mode = GPIO_MODE_ANALOG_ADC_CONTROL;
  GPIO_InitStruct.Pull = GPIO_NOPULL;
  HAL_GPIO_Init(GPIOB, &GPIO_InitStruct);

  /*Configure GPIO pins : PB2 PB6 */
  GPIO_InitStruct.Pin = GPIO_PIN_2|GPIO_PIN_6;
  GPIO_InitStruct.Mode = GPIO_MODE_ANALOG;
  GPIO_InitStruct.Pull = GPIO_NOPULL;
  HAL_GPIO_Init(GPIOB, &GPIO_InitStruct);

  /*Configure GPIO pin : PF13 */
  GPIO_InitStruct.Pin = GPIO_PIN_13;
  GPIO_InitStruct.Mode = GPIO_MODE_INPUT;
  GPIO_InitStruct.Pull = GPIO_PULLUP;
  HAL_GPIO_Init(GPIOF, &GPIO_InitStruct);

  /*Configure GPIO pin : PG0 */
  GPIO_InitStruct.Pin = GPIO_PIN_0;
  GPIO_InitStruct.Mode = GPIO_MODE_OUTPUT_PP;
  GPIO_InitStruct.Pull = GPIO_NOPULL;
  GPIO_InitStruct.Speed = GPIO_SPEED_FREQ_LOW;
  HAL_GPIO_Init(GPIOG, &GPIO_InitStruct);

  /*Configure GPIO pins : PE10 PE11 PE12 */
  GPIO_InitStruct.Pin = GPIO_PIN_10|GPIO_PIN_11|GPIO_PIN_12;
  GPIO_InitStruct.Mode = GPIO_MODE_OUTPUT_PP;
  GPIO_InitStruct.Pull = GPIO_NOPULL;
  GPIO_InitStruct.Speed = GPIO_SPEED_FREQ_LOW;
  HAL_GPIO_Init(GPIOE, &GPIO_InitStruct);

  /*Configure GPIO pins : PB12 PB13 PB15 */
  GPIO_InitStruct.Pin = GPIO_PIN_12|GPIO_PIN_13|GPIO_PIN_15;
  GPIO_InitStruct.Mode = GPIO_MODE_AF_PP;
  GPIO_InitStruct.Pull = GPIO_NOPULL;
  GPIO_InitStruct.Speed = GPIO_SPEED_FREQ_LOW;
  GPIO_InitStruct.Alternate = GPIO_AF13_SAI2;
  HAL_GPIO_Init(GPIOB, &GPIO_InitStruct);

  /*Configure GPIO pin : PB14 */
  GPIO_InitStruct.Pin = GPIO_PIN_14;
  GPIO_InitStruct.Mode = GPIO_MODE_AF_PP;
  GPIO_InitStruct.Pull = GPIO_NOPULL;
  GPIO_InitStruct.Speed = GPIO_SPEED_FREQ_LOW;
  GPIO_InitStruct.Alternate = GPIO_AF14_TIM15;
  HAL_GPIO_Init(GPIOB, &GPIO_InitStruct);

  /*Configure GPIO pins : PD12 PD1 */
  GPIO_InitStruct.Pin = GPIO_PIN_12|GPIO_PIN_1;
  GPIO_InitStruct.Mode = GPIO_MODE_OUTPUT_PP;
  GPIO_InitStruct.Pull = GPIO_NOPULL;
  GPIO_InitStruct.Speed = GPIO_SPEED_FREQ_LOW;
  HAL_GPIO_Init(GPIOD, &GPIO_InitStruct);

  /*Configure GPIO pin : PC6 */
  GPIO_InitStruct.Pin = GPIO_PIN_6;
  GPIO_InitStruct.Mode = GPIO_MODE_AF_PP;
  GPIO_InitStruct.Pull = GPIO_NOPULL;
  GPIO_InitStruct.Speed = GPIO_SPEED_FREQ_LOW;
  GPIO_InitStruct.Alternate = GPIO_AF13_SAI2;
  HAL_GPIO_Init(GPIOC, &GPIO_InitStruct);

  /*Configure GPIO pins : PC8 PC9 PC10 PC11
                           PC12 */
  GPIO_InitStruct.Pin = GPIO_PIN_8|GPIO_PIN_9|GPIO_PIN_10|GPIO_PIN_11
                          |GPIO_PIN_12;
  GPIO_InitStruct.Mode = GPIO_MODE_AF_PP;
  GPIO_InitStruct.Pull = GPIO_NOPULL;
  GPIO_InitStruct.Speed = GPIO_SPEED_FREQ_VERY_HIGH;
  GPIO_InitStruct.Alternate = GPIO_AF12_SDMMC1;
  HAL_GPIO_Init(GPIOC, &GPIO_InitStruct);

  /*Configure GPIO pins : PA8 PA10 */
  GPIO_InitStruct.Pin = GPIO_PIN_8|GPIO_PIN_10;
  GPIO_InitStruct.Mode = GPIO_MODE_AF_PP;
  GPIO_InitStruct.Pull = GPIO_NOPULL;
  GPIO_InitStruct.Speed = GPIO_SPEED_FREQ_VERY_HIGH;
  GPIO_InitStruct.Alternate = GPIO_AF10_OTG_FS;
  HAL_GPIO_Init(GPIOA, &GPIO_InitStruct);

  /*Configure GPIO pin : PA9 */
  GPIO_InitStruct.Pin = GPIO_PIN_9;
  GPIO_InitStruct.Mode = GPIO_MODE_INPUT;
  GPIO_InitStruct.Pull = GPIO_NOPULL;
  HAL_GPIO_Init(GPIOA, &GPIO_InitStruct);

  /*Configure GPIO pin : PD0 */
  GPIO_InitStruct.Pin = GPIO_PIN_0;
  GPIO_InitStruct.Mode = GPIO_MODE_AF_PP;
  GPIO_InitStruct.Pull = GPIO_NOPULL;
  GPIO_InitStruct.Speed = GPIO_SPEED_FREQ_VERY_HIGH;
  GPIO_InitStruct.Alternate = GPIO_AF9_CAN1;
  HAL_GPIO_Init(GPIOD, &GPIO_InitStruct);

  /*Configure GPIO pin : PD2 */
  GPIO_InitStruct.Pin = GPIO_PIN_2;
  GPIO_InitStruct.Mode = GPIO_MODE_AF_PP;
  GPIO_InitStruct.Pull = GPIO_NOPULL;
  GPIO_InitStruct.Speed = GPIO_SPEED_FREQ_VERY_HIGH;
  GPIO_InitStruct.Alternate = GPIO_AF12_SDMMC1;
  HAL_GPIO_Init(GPIOD, &GPIO_InitStruct);

  /*Configure GPIO pins : PD3 PD4 PD5 PD6 */
  GPIO_InitStruct.Pin = GPIO_PIN_3|GPIO_PIN_4|GPIO_PIN_5|GPIO_PIN_6;
  GPIO_InitStruct.Mode = GPIO_MODE_AF_PP;
  GPIO_InitStruct.Pull = GPIO_NOPULL;
  GPIO_InitStruct.Speed = GPIO_SPEED_FREQ_VERY_HIGH;
  GPIO_InitStruct.Alternate = GPIO_AF7_USART2;
  HAL_GPIO_Init(GPIOD, &GPIO_InitStruct);

  /*Configure GPIO pin : PD7 */
  GPIO_InitStruct.Pin = GPIO_PIN_7;
  GPIO_InitStruct.Mode = GPIO_MODE_INPUT;
  GPIO_InitStruct.Pull = GPIO_PULLUP;
  HAL_GPIO_Init(GPIOD, &GPIO_InitStruct);

  /*Configure GPIO pins : PB3 PB4 PB5 */
  GPIO_InitStruct.Pin = GPIO_PIN_3|GPIO_PIN_4|GPIO_PIN_5;
  GPIO_InitStruct.Mode = GPIO_MODE_AF_PP;
  GPIO_InitStruct.Pull = GPIO_NOPULL;
  GPIO_InitStruct.Speed = GPIO_SPEED_FREQ_VERY_HIGH;
  GPIO_InitStruct.Alternate = GPIO_AF6_SPI3;
  HAL_GPIO_Init(GPIOB, &GPIO_InitStruct);

  /*Configure GPIO pins : PB8 PB9 */
  GPIO_InitStruct.Pin = GPIO_PIN_8|GPIO_PIN_9;
  GPIO_InitStruct.Mode = GPIO_MODE_AF_OD;
  GPIO_InitStruct.Pull = GPIO_NOPULL;
  GPIO_InitStruct.Speed = GPIO_SPEED_FREQ_VERY_HIGH;
  GPIO_InitStruct.Alternate = GPIO_AF4_I2C1;
  HAL_GPIO_Init(GPIOB, &GPIO_InitStruct);

  /*Configure GPIO pin : PE1 */
  GPIO_InitStruct.Pin = GPIO_PIN_1;
  GPIO_InitStruct.Mode = GPIO_MODE_IT_RISING_FALLING;
  GPIO_InitStruct.Pull = GPIO_PULLUP;
  HAL_GPIO_Init(GPIOE, &GPIO_InitStruct);

  /* EXTI interrupt init*/
  HAL_NVIC_SetPriority(EXTI1_IRQn, 5, 0);
  HAL_NVIC_EnableIRQ(EXTI1_IRQn);

}

/* USER CODE BEGIN 4 */
#ifdef __GNUC__
#define PUTCHAR_PROTOTYPE int __io_putchar(int ch)
#else
#define PUTCHAR_PROTOTYPE int fputc(int ch, FILE *f)
#endif /* __GNUC__ */
PUTCHAR_PROTOTYPE
{
HAL_UART_Transmit(&hlpuart1, (uint8_t *)&ch, 1, 0xFFFF);
return ch;
}
/* USER CODE END 4 */

void StartLiDARDataTask(void *argument)
{
  /* USER CODE BEGIN 5 */
  /* Infinite loop */
  for(;;)
  {
    osSemaphoreAcquire(myBinarySem01Handle, osWaitForever);
    FillFrame(pingframe, 0x0000);
    uint8_t buffer_to_process = data_ready_k;
    data_ready_k = 0xFF;

    if (new_scan_flag) {
      memset(zone, 0, sizeof(zone));
      new_scan_flag = false;
    }

    // Process the buffer, accounting for potential shifts in decode_normal_scan
    uint8_t* current_packet = rx_buffer + buffer_to_process * LIDAR_BUFFER_SIZE;
    uint8_t* buffer_end = current_packet + LIDAR_BUFFER_SIZE; // End of the buffer

    while (current_packet + 5 <= buffer_end) { // Ensure at least 5 bytes remain
      if (decode_normal_scan(current_packet)) {
        current_packet += 5; // Move to the next packet only if valid
      } else {
        current_packet++; // Skip to the next byte for invalid packets
      }
    }

    osMutexAcquire(myMutex01Handle, osWaitForever);
    for (int i = 0; i < GRID_DIM * GRID_DIM; i++) {
      if (zone_detected[i]) {
        if (zone_history[i] < 100) {
          zone_history[i] += 10;
        }
      } else {
        if (zone_history[i] > 0) {
          zone_history[i] -= 10;  // use faster decay to clear old detections
        } else {
          zone_history[i] = 0;
        }
      }
    }
    memset(zone_detected, 0, sizeof(zone_detected));
    osMutexRelease(myMutex01Handle);

    ILI9341_DisplayFrame(&hspi1);
    osDelay(100);
  }
  /* USER CODE END 5 */
}

void StartHapticsTask(void *argument)
{
  /* USER CODE BEGIN StartHapticsTask */
  /* Infinite loop */
  for(;;)
  {
    // Left
    if (!HAL_GPIO_ReadPin(GPIOE, GPIO_PIN_2)) {
      // Haptics
      if (!left_haptic_triggered) {
        bool triggered = false;

        osMutexAcquire(myMutex01Handle, osWaitForever);
        for (int i = GRID_DIM / 4; i < 3 * GRID_DIM / 4; i++) {
          for (int j = GRID_DIM / 2; j < 3 * GRID_DIM / 4; j++) {
            if (zone_history[i * GRID_DIM + j] > 0) {
              triggered = true;
              break;
            }
          }
          if (triggered) break;
        }
        osMutexRelease(myMutex01Handle);

        if (triggered) {
          HAL_GPIO_WritePin(GPIOD, GPIO_PIN_1, GPIO_PIN_SET);
          left_haptic_triggered = true;
          osTimerStart(myTimer01Handle, 200);
        }
      }
    }
    // Right
    if (!HAL_GPIO_ReadPin(GPIOD, GPIO_PIN_7)) {
      // Haptics
      if (!right_haptic_triggered) {
        bool triggered = false;

        osMutexAcquire(myMutex01Handle, osWaitForever);
        for (int i = GRID_DIM / 4; i < 3 * GRID_DIM / 4; i++) {
          for (int j = GRID_DIM / 4; j < GRID_DIM / 2; j++) {
            if (zone_history[i * GRID_DIM + j] > 0) {
              triggered = true;
              break;
            }
          }
          if (triggered) break;
        }
        osMutexRelease(myMutex01Handle);

        if (triggered) {
          HAL_GPIO_WritePin(GPIOG, GPIO_PIN_0, GPIO_PIN_SET);
          right_haptic_triggered = true;
          osTimerStart(myTimer02Handle, 200);
        }
      }
    }
    osDelay(100);
  }
  /* USER CODE END StartHapticsTask */
}

void StartLED(void *argument)
{
  /* USER CODE BEGIN StartLED */
  /* Infinite loop */
  for(;;)
  {
    // Left
    if (!HAL_GPIO_ReadPin(GPIOE, GPIO_PIN_2) && led_state) {
      WS2812_SetLED(12, 255, 0, 0); // Red
      WS2812_SetLED(13, 255, 0, 0);   // OFF
      WS2812_SetLED(14, 255, 0, 0);   // OFF
    } else {
      WS2812_SetLED(12, 0, 0, 0); // Red
      WS2812_SetLED(13, 0, 0, 0);   // OFF
      WS2812_SetLED(14, 0, 0, 0);   // OFF
    }
    // Right
    if (!HAL_GPIO_ReadPin(GPIOD, GPIO_PIN_7) && led_state) {
      WS2812_SetLED(15, 255, 0, 0); // Red
      WS2812_SetLED(16, 255, 0, 0);   // OFF
      WS2812_SetLED(17, 255, 0, 0);   // OFF
    } else {
      WS2812_SetLED(15, 0, 0, 0); // Red
      WS2812_SetLED(16, 0, 0, 0);   // OFF
      WS2812_SetLED(17, 0, 0, 0);   // OFF
    }
    WS2812_Send();
    osDelay(100);
  }
  /* USER CODE END StartLED */
}

void StartRetryConnection(void *argument)
{
  /* USER CODE BEGIN StartRetryConnection */
  /* Infinite loop */
  for(;;)
  {
    osSemaphoreAcquire(myBinarySem02Handle, osWaitForever);
    osMutexAcquire(myMutex01Handle, osWaitForever);
    memset(zone, 0, sizeof(zone));
    memset(zone_history, 0, sizeof(zone_history));
    memset(zone_detected, 0, sizeof(zone_detected));
    osMutexRelease(myMutex01Handle);

    __HAL_UART_CLEAR_IT(&huart1, UART_CLEAR_OREF);
    HAL_UART_Receive_DMA(&huart1, rx_buffer, 7);
    send_scan_command(&huart1);
    ILI9341_DisplayFrame(&hspi1);
    osDelay(3000);
  }
  /* USER CODE END StartRetryConnection */
}

void StartChangeModes(void *argument)
{
  /* USER CODE BEGIN StartChangeModes */
  /* Infinite loop */
  for(;;)
  {
    // If read low, meaning pushed then start the corresponding mode
    if (HAL_GPIO_ReadPin(GPIOE, GPIO_PIN_9)) {
      zone_mode = false;
    } else {
      zone_mode = true;
    }

    if (HAL_GPIO_ReadPin(GPIOF, GPIO_PIN_13)) {
      filter_mode = false;
    } else {
      filter_mode = true;
    }
    osDelay(100);
  }
  /* USER CODE END StartChangeModes */
}

/* Callback01 function */
void Callback01(void *argument)
{
  /* USER CODE BEGIN Callback01 */
  HAL_GPIO_WritePin(GPIOD, GPIO_PIN_1, GPIO_PIN_RESET);
  left_haptic_triggered = false;
  /* USER CODE END Callback01 */
}

/* Callback02 function */
void Callback02(void *argument)
{
  /* USER CODE BEGIN Callback02 */
  HAL_GPIO_WritePin(GPIOG, GPIO_PIN_0, GPIO_PIN_RESET);
  right_haptic_triggered = false;
  /* USER CODE END Callback02 */
}

/* Callback03 function */
void Callback03(void *argument)
{
  /* USER CODE BEGIN Callback03 */
  led_state = !led_state;
  /* USER CODE END Callback03 */
}

/* Callback05 function */
void Callback05(void *argument)
{
  /* USER CODE BEGIN Callback05 */
  count++;
  if (count == 100) {
    count = 0;
    startup = true;
    osSemaphoreRelease(myBinarySem02Handle);
  }
  /* USER CODE END Callback05 */
}

void HAL_TIM_PeriodElapsedCallback(TIM_HandleTypeDef *htim)
{
  if (htim->Instance == TIM6)
  {
    HAL_IncTick();
  }
}

void Error_Handler(void)
{
  __disable_irq();
  while (1)
  {
  }
}
